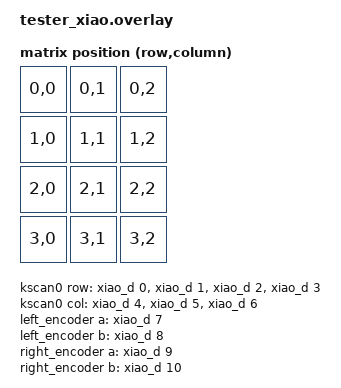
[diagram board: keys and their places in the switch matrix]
#include <dt-bindings/zmk/matrix_transform.h>
#include <layouts/tester_xiao/3x4.dtsi>   // include your 3x4 layout file

&xiao_serial { status = "disabled"; };

&tester_xiao_layout {
    transform = <&three_column_transform>;
};

 / {
    chosen {
        zmk,kscan = &kscan0;
//        zmk,physical-layout = &tester_xiao_layout;
    };


    kscan0: kscan {
        compatible = "zmk,kscan-gpio-matrix";
        wakeup-source;
        diode-direction = "col2row";
        row-gpios
            = <&xiao_d 0 (GPIO_ACTIVE_HIGH | GPIO_PULL_DOWN)>
            , <&xiao_d 1 (GPIO_ACTIVE_HIGH | GPIO_PULL_DOWN)>
            , <&xiao_d 2 (GPIO_ACTIVE_HIGH | GPIO_PULL_DOWN)>
            , <&xiao_d 3 (GPIO_ACTIVE_HIGH | GPIO_PULL_DOWN)>
            ;
        col-gpios
            = <&xiao_d 4 GPIO_ACTIVE_HIGH>
            , <&xiao_d 5 GPIO_ACTIVE_HIGH>
            , <&xiao_d 6 GPIO_ACTIVE_HIGH>
            ;
    };

    transform0: keymap_transform {
        compatible = "zmk,matrix-transform";
        columns = <3>;
        rows = <4>;
        map = <
        RC(0,0) RC(0,1) RC(0,2)
        RC(1,0) RC(1,1) RC(1,2)
        RC(2,0) RC(2,1) RC(2,2)
        RC(3,0) RC(3,1) RC(3,2)
        >;
    };

    left_encoder: encoder_left {
        compatible = "alps,ec11";
        a-gpios = <&xiao_d 7 (GPIO_ACTIVE_HIGH | GPIO_PULL_UP)>;
        b-gpios = <&xiao_d 8 (GPIO_ACTIVE_HIGH | GPIO_PULL_UP)>;
        steps = <80>;
        status = "disabled";
    };

    right_encoder: encoder_right {
        compatible = "alps,ec11";
        a-gpios = <&xiao_d 9 (GPIO_ACTIVE_HIGH | GPIO_PULL_UP)>;
        b-gpios = <&xiao_d 10 (GPIO_ACTIVE_HIGH | GPIO_PULL_UP)>;
        steps = <80>;
        status = "disabled";
    };

    sensors: sensors {
        compatible = "zmk,keymap-sensors";
        sensors = <&left_encoder &right_encoder>;
        triggers-per-rotation = <20>;
    };
};

&left_encoder {
    status = "okay";
};

&right_encoder {
    status = "okay";
};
